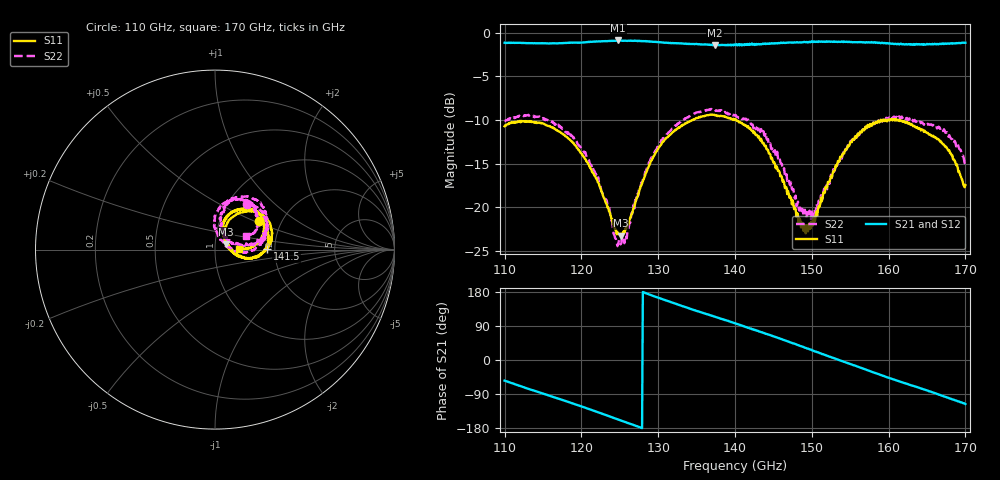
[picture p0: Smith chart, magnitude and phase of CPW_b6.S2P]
!  2-Port S-parameters saved by WinCal
! VAR NAME=CPW_b6
! VAR FILENAME=CPW_b6.S2P
! VAR DATE=10/12/2019 16:59:24
! VAR PHYS_PORTS=1,2
! VAR ObjTypeName=DATASET
! VAR IndexType=Frequency
# Hz S RI R 50
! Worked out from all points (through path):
!   601 points, 110 GHz to 170 GHz, reference 50 ohm
!   highest |S21| = -0.89 dB at 124.8 GHz (marker M1); lowest = -1.5 dB at 137.4 GHz (marker M2)
!   group delay of S21, straight-line fit = 19.6 ps
!   lowest |S11| = -23.3 dB at 125.1 GHz (marker M3), VSWR 1.15, Z = 56.5 + j3.3 ohm
!   |S11| at or under -10 dB: start of sweep to 134.5 GHz; 140.1 GHz to 159 GHz (18.84 GHz wide, 12.6 % of centre); 161.3 GHz to end of sweep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
!   |S22| runs from -24.5 to -8.7 dB; largest |S21 - S12| = 0.051
!   S11 on the Smith chart (normalised r, x): 110 GHz: 1.53, +0.53; 141.5 GHz: 1.83, +0.02; 170 GHz: 1.31, +0.01
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1.1e11  0.2428 0.1601  0.5101 -0.7123  0.5372 -0.6916  0.181 0.254
1.149e11  0.2979 0.0505  0.0287 -0.871  0.0682 -0.8666  0.2818 0.1569
1.2e11  0.1975 -0.0475  -0.4707 -0.7405  -0.4401 -0.7609  0.2166 0.000675
1.22e11  0.1413 -0.0349  -0.6459 -0.6124  -0.6233 -0.6362  0.1553 -0.0113
1.248e11  0.0675 0.0184  -0.8323 -0.3497  -0.815 -0.3847  0.0548 0.0284
1.251e11  0.0622 0.0291  -0.8447 -0.3157  -0.8293 -0.3532  0.0475 0.0385
1.259e11  0.0537 0.0555  -0.8693 -0.2308  -0.8612 -0.262  0.021 0.0628
1.277e11  0.0551 0.1184  -0.8952 -0.029  -0.8929 -0.0548  -0.00524 0.1296
1.3e11  0.1068 0.1876  -0.8507 0.2371  -0.8614 0.1929  0.0192 0.2217
1.341e11  0.2296 0.2079  -0.6184 0.6029  -0.6474 0.5678  0.1525 0.2948
1.374e11  0.3104 0.1293  -0.3489 0.7697  -0.3777 0.7608  0.2596 0.2519
1.4e11  0.3129 0.0527  -0.1012 0.8463  -0.1227 0.8437  0.2917 0.1697
1.415e11  0.2921 0.00491  0.0488 0.8498  0.0268 0.8542  0.2925 0.1171
1.459e11  0.1449 -0.0402  0.4863 0.7257  0.4659 0.7425  0.1791 0.025
1.486e11  0.0754 0.0127  0.7042 0.5246  0.6885 0.5484  0.0862 0.036
1.5e11  0.061 0.0555  0.8023 0.3915  0.7802 0.4202  0.0591 0.0735
1.548e11  0.093 0.203  0.8757 -0.1397  0.8803 -0.0988  0.0536 0.22
1.571e11  0.1764 0.2217  0.7954 -0.3844  0.8152 -0.3462  0.0899 0.271
1.6e11  0.2499 0.1972  0.5926 -0.6326  0.6214 -0.6073  0.1709 0.2772
1.652e11  0.2557 0.0589  0.1211 -0.8487  0.1427 -0.8499  0.2371 0.1826
1.678e11  0.2095 0.0159  -0.1495 -0.8543  -0.1335 -0.857  0.2257 0.1145
1.7e11  0.1337 0.00535  -0.3872 -0.7857  -0.3688 -0.7942  0.1714 0.0751
